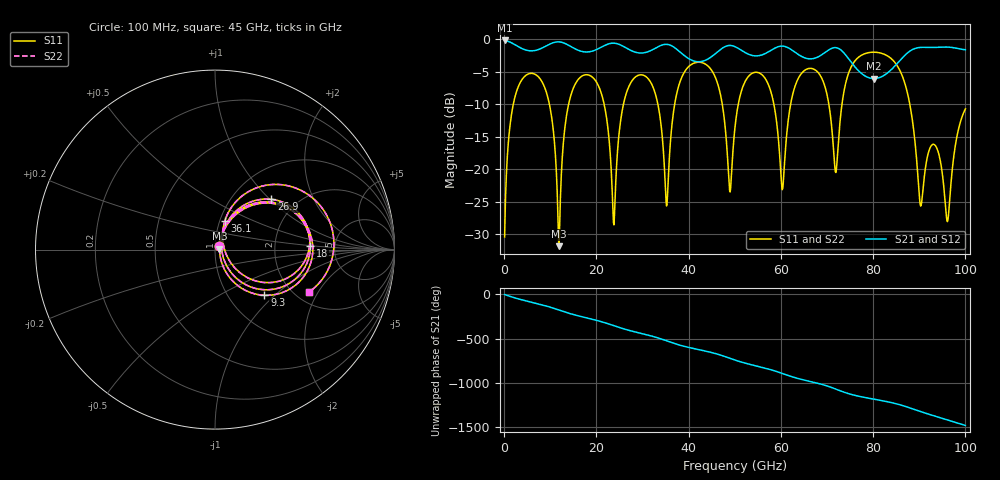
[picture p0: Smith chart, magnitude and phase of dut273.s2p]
! Touchstone file exported from HFSS 2026.1.0
!  File:  C:/ffzhzh/LocalFiles/Ansys_Project_Files/temp_train_TSV_RDL_273_1783675570_26216.aedt
!  Generated:  05:54:44 PM Jul 10, 2026
!  Design:  TSV_RDL
!  Project:  temp_train_TSV_RDL_273_1783675570_26216
! Variables:
!  h_bsmrdl = 3.47um
!  h_ox = 20um
!  h_rdl = 5um
!  h_sub = 90.66um
!  h_tmrdl = 3.25um
!  h_tsv = 90.66um
!  h_via = 3um
!  l_bsmrdl = 607.47um
!  l_sub = 4946.46um
!  l_tmrdl = 646.61um
!  m_sub = 200um
!  pitch = 50.59um
!  r_tsv = 5.79um
!  s_tmrdl = 10um
!  w_bsmrdl = 24.13um
!  w_sub = 500um
!  w_tmrdl = 21.74um
!  x_tsv_center1 = 657.48um
!  x_tsv_center2 = 1289.08um
!  x_tsv_center3 = 1957.43um
!  x_tsv_center4 = 2589.03um
!  x_tsv_center5 = 3257.38um
!  x_tsv_center6 = 3888.98um
# GHz S MA R 50.000000
! Terminal data exported
! Port[1] = TM_RDL1_1_T1
! Port[2] = TM_RDL5_1_T1
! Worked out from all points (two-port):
!   1000 points, 100 MHz to 100 GHz, reference 50 ohm
!   highest |S21| = -0.21 dB at 100 MHz (marker M1); lowest = -6.1 dB at 80.2 GHz (marker M2)
!   |S21| within 3 dB of the highest: start of sweep to 40.54 GHz; 43.79 GHz to 74.88 GHz (31.09 GHz wide, 52.4 % of centre) (the widest 2 of 3)
!   lowest |S11| = -31.9 dB at 11.9 GHz (marker M3), VSWR 1.05, Z = 52.6 + j0.524 ohm
!   |S11| at or under -10 dB: 9.807 GHz to 13.98 GHz (4.175 GHz wide, 35.1 % of centre); 21.67 GHz to 25.87 GHz (4.198 GHz wide, 17.7 % of centre); 87.94 GHz to end of sweep (the widest 3 of 8)
!   |S22| runs from -31.8 to -2.0 dB; largest |S21 - S12| = 2.9e-12
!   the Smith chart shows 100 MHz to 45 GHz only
!   S11 on the Smith chart (normalised r, x): 100 MHz: 1.05, +0.04; 9.3 GHz: 1.46, -0.86; 18 GHz: 3.26, +0.18; 26.9 GHz: 1.50, +1.02; 36.1 GHz: 1.06, +0.35; 45 GHz: 2.37, -1.67
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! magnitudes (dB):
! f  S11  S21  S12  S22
! 100 MHz  -30.4  -0.2  -0.2  -30.4
! 2.9 GHz  -7.6  -1.1  -1.1  -7.6
! 9.3 GHz  -8.5  -1.0  -1.0  -8.5
! 11.9 GHz  -31.9  -0.4  -0.4  -31.8
! 16.8 GHz  -5.7  -1.9  -1.9  -5.7
! 18 GHz  -5.5  -2.0  -2.0  -5.5
! 23.8 GHz  -28.6  -0.6  -0.6  -28.4
! 26.9 GHz  -7.5  -1.5  -1.5  -7.5
! 33.4 GHz  -10.3  -1.2  -1.2  -10.3
! 36.1 GHz  -15.3  -1.0  -1.0  -15.4
! 45 GHz  -4.8  -2.7  -2.7  -4.8
! 48.9 GHz  -23.4  -1.0  -1.0  -23.6
! 50.1 GHz  -13.2  -1.2  -1.2  -13.2
! 56.1 GHz  -5.6  -2.4  -2.4  -5.6
! 60.3 GHz  -23.2  -1.1  -1.1  -23.2
! 66.7 GHz  -4.5  -3.0  -3.0  -4.5
! 71.9 GHz  -20.5  -1.3  -1.3  -20.6
! 80.2 GHz  -2.0  -6.1  -6.1  -2.0
! 83.4 GHz  -2.7  -5.0  -5.0  -2.7
! 90.3 GHz  -25.7  -1.3  -1.3  -26.0
! 96.2 GHz  -27.9  -1.2  -1.2  -27.4
! 100 GHz  -10.7  -1.6  -1.6  -10.7
